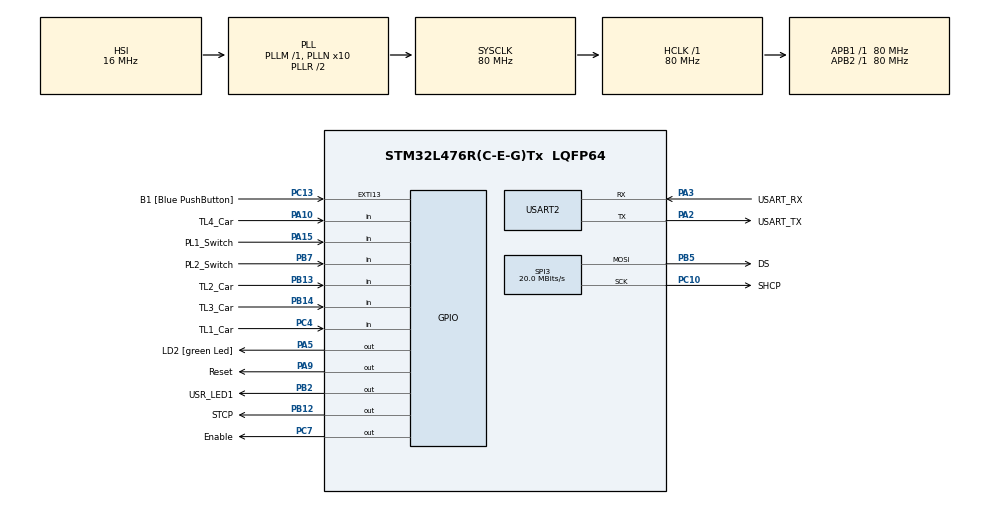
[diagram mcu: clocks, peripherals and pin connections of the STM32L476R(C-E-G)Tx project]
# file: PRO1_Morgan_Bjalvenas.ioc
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FREERTOS.BinarySemaphores01=BinarySemaphoreLEDs,Dynamic,NULL
FREERTOS.Tasks01=defaultTask,24,128,StartDefaultTask,Default,NULL,Dynamic,NULL,NULL;TrafficLightFSM,24,128,traffic_light_FSM,Default,NULL,Dynamic,NULL,NULL;PedestrianLight,24,128,pedestrian_light1,Default,NULL,Dynamic,NULL,NULL;PL1Toggle,8,128,PL1_toggle,Default,NULL,Dynamic,NULL,NULL;PL2Toggle,8,128,PL2_toggle,Default,NULL,Dynamic,NULL,NULL
FREERTOS.configTOTAL_HEAP_SIZE=4000
FREERTOS.configUSE_NEWLIB_REENTRANT=1
Mcu.Family=STM32L4
Mcu.Name=STM32L476R(C-E-G)Tx
Mcu.Package=LQFP64
NVIC.PriorityGroup=NVIC_PRIORITYGROUP_4
NVIC.TIM6_DAC_IRQn=true\:15\:0\:false\:false\:true\:false\:false\:true\:true
NVIC.TimeBase=TIM6_DAC_IRQn
NVIC.TimeBaseIP=TIM6
PA10.GPIO_Label=TL4_Car
PA10.Signal=GPIO_Input
PA13\ (JTMS-SWDIO).GPIO_Label=TMS
PA13\ (JTMS-SWDIO).Mode=Serial_Wire
PA13\ (JTMS-SWDIO).Signal=SYS_JTMS-SWDIO
PA14\ (JTCK-SWCLK).GPIO_Label=TCK
PA14\ (JTCK-SWCLK).Mode=Serial_Wire
PA14\ (JTCK-SWCLK).Signal=SYS_JTCK-SWCLK
PA15\ (JTDI).GPIO_Label=PL1_Switch
PA15\ (JTDI).GPIO_PuPd=GPIO_PULLUP
PA15\ (JTDI).Signal=GPIO_Input
PA2.GPIO_Label=USART_TX
PA2.GPIO_Mode=GPIO_MODE_AF_PP
PA2.GPIO_PuPd=GPIO_NOPULL
PA2.GPIO_Speed=GPIO_SPEED_FREQ_VERY_HIGH
PA2.Mode=Asynchronous
PA2.Signal=USART2_TX
PA3.GPIO_Label=USART_RX
PA3.GPIO_Mode=GPIO_MODE_AF_PP
PA3.GPIO_PuPd=GPIO_NOPULL
PA3.GPIO_Speed=GPIO_SPEED_FREQ_VERY_HIGH
PA3.Mode=Asynchronous
PA3.Signal=USART2_RX
PA5.GPIO_Label=LD2 [green Led]
PA5.GPIO_ModeDefaultOutputPP=GPIO_MODE_OUTPUT_PP
PA5.GPIO_PuPd=GPIO_NOPULL
PA5.GPIO_Speed=GPIO_SPEED_FREQ_LOW
PA5.Signal=GPIO_Output
PA9.GPIO_Label=Reset
PA9.Signal=GPIO_Output
PB12.GPIO_Label=STCP
PB12.Signal=GPIO_Output
PB13.GPIO_Label=TL2_Car
PB13.Signal=GPIO_Input
PB14.GPIO_Label=TL3_Car
PB14.Signal=GPIO_Input
PB2.GPIO_Label=USR_LED1
PB2.Signal=GPIO_Output
PB3\ (JTDO-TRACESWO).GPIO_Label=SWO
PB3\ (JTDO-TRACESWO).Signal=SYS_JTDO-SWO
PB5.GPIO_Label=DS
PB5.Mode=TX_Only_Simplex_Unidirect_Master
PB5.Signal=SPI3_MOSI
PB7.GPIO_Label=PL2_Switch
PB7.GPIO_Mode=GPIO_MODE_INPUT
PB7.GPIO_PuPd=GPIO_PULLUP
PB7.Signal=GPIO_Input
PC10.GPIO_Label=SHCP
PC10.Mode=TX_Only_Simplex_Unidirect_Master
PC10.Signal=SPI3_SCK
PC13.GPIO_Label=B1 [Blue PushButton]
PC13.GPIO_ModeDefaultEXTI=GPIO_MODE_IT_FALLING
PC13.GPIO_PuPd=GPIO_NOPULL
PC13.Signal=GPXTI13
PC14-OSC32_IN\ (PC14).Mode=LSE-External-Oscillator
PC14-OSC32_IN\ (PC14).Signal=RCC_OSC32_IN
PC15-OSC32_OUT\ (PC15).Mode=LSE-External-Oscillator
PC15-OSC32_OUT\ (PC15).Signal=RCC_OSC32_OUT
PC4.GPIO_Label=TL1_Car
PC4.Signal=GPIO_Input
PC7.GPIO_Label=Enable
PC7.Signal=GPIO_Output
PH0-OSC_IN\ (PH0).Signal=RCC_OSC_IN
PH1-OSC_OUT\ (PH1).Signal=RCC_OSC_OUT
ProjectManager.HeapSize=0x200
ProjectManager.StackSize=0x400
ProjectManager.TargetToolchain=STM32CubeIDE
RCC.ADCFreq_Value=64000000
RCC.AHBFreq_Value=80000000
RCC.APB1Freq_Value=80000000
RCC.APB1TimFreq_Value=80000000
RCC.APB2Freq_Value=80000000
RCC.APB2TimFreq_Value=80000000
RCC.CortexFreq_Value=80000000
RCC.HCLKFreq_Value=80000000
RCC.HSE_VALUE=8000000
RCC.HSI_VALUE=16000000
RCC.MSI_VALUE=4000000
RCC.PLLN=10
RCC.PLLSourceVirtual=RCC_PLLSOURCE_HSI
RCC.PREFETCH_ENABLE=1
RCC.SYSCLKFreq_VALUE=80000000
RCC.SYSCLKSource=RCC_SYSCLKSOURCE_PLLCLK
RCC.USBFreq_Value=64000000
RCC.VCOOutputFreq_Value=160000000
SPI3.BaudRatePrescaler=SPI_BAUDRATEPRESCALER_4
SPI3.CalculateBaudRate=20.0 MBits/s
SPI3.DataSize=SPI_DATASIZE_8BIT
SPI3.Direction=SPI_DIRECTION_2LINES
SPI3.FirstBit=SPI_FIRSTBIT_LSB
SPI3.Mode=SPI_MODE_MASTER
SPI3.VirtualType=VM_MASTER
USART2.VirtualMode-Asynchronous=VM_ASYNC
VP_FREERTOS_VS_CMSIS_V2.Mode=CMSIS_V2
VP_SYS_VS_tim6.Mode=TIM6
board=NUCLEO-L476RG

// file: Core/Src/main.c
/* USER CODE BEGIN Header */
/**
  ******************************************************************************
  * @file           : main.c
  * @brief          : Main program body
  ******************************************************************************
  * @attention
  *
  * Copyright (c) 2023 STMicroelectronics.
  * All rights reserved.
  *
  * This software is licensed under terms that can be found in the LICENSE file
  * in the root directory of this software component.
  * If no LICENSE file comes with this software, it is provided AS-IS.
  *
  ******************************************************************************
  */
/* USER CODE END Header */
#include "main.h"
#include "cmsis_os.h"
#include "spi.h"
#include "usart.h"
#include "gpio.h"

/* USER CODE BEGIN PD */
#define RUN_TEST_PROGRAM // define test program
/* USER CODE END PD */

void SystemClock_Config(void);
void MX_FREERTOS_Init(void);

/* USER CODE BEGIN 0 */
#ifdef RUN_TEST_PROGRAM
extern void initialise_monitor_handles(void);
#endif

/* USER CODE END 0 */

int main(void)
{

  /* MCU Configuration--------------------------------------------------------*/

  /* Reset of all peripherals, Initializes the Flash interface and the Systick. */
  HAL_Init();

  /* Configure the system clock */
  SystemClock_Config();

  /* Initialize all configured peripherals */
  MX_GPIO_Init();
  MX_USART2_UART_Init();
  MX_SPI3_Init();
  /* USER CODE BEGIN 2 */
//#ifdef RUN_TEST_PROGRAM // run test program if defined, uncomment to run tests
//Test_program();
//#endif

  /* USER CODE END 2 */

  /* Init scheduler */
  osKernelInitialize();

  /* Call init function for freertos objects (in freertos.c) */
  MX_FREERTOS_Init();

  /* Start scheduler */
  osKernelStart();

  /* We should never get here as control is now taken by the scheduler */
  /* Infinite loop */
  while (1)
  {

  }
}

void SystemClock_Config(void)
{
  RCC_OscInitTypeDef RCC_OscInitStruct = {0};
  RCC_ClkInitTypeDef RCC_ClkInitStruct = {0};

  /** Configure the main internal regulator output voltage
  */
  if (HAL_PWREx_ControlVoltageScaling(PWR_REGULATOR_VOLTAGE_SCALE1) != HAL_OK)
  {
    Error_Handler();
  }

  /** Initializes the RCC Oscillators according to the specified parameters
  * in the RCC_OscInitTypeDef structure.
  */
  RCC_OscInitStruct.OscillatorType = RCC_OSCILLATORTYPE_HSI;
  RCC_OscInitStruct.HSIState = RCC_HSI_ON;
  RCC_OscInitStruct.HSICalibrationValue = RCC_HSICALIBRATION_DEFAULT;
  RCC_OscInitStruct.PLL.PLLState = RCC_PLL_ON;
  RCC_OscInitStruct.PLL.PLLSource = RCC_PLLSOURCE_HSI;
  RCC_OscInitStruct.PLL.PLLM = 1;
  RCC_OscInitStruct.PLL.PLLN = 10;
  RCC_OscInitStruct.PLL.PLLP = RCC_PLLP_DIV7;
  RCC_OscInitStruct.PLL.PLLQ = RCC_PLLQ_DIV2;
  RCC_OscInitStruct.PLL.PLLR = RCC_PLLR_DIV2;
  if (HAL_RCC_OscConfig(&RCC_OscInitStruct) != HAL_OK)
  {
    Error_Handler();
  }

  /** Initializes the CPU, AHB and APB buses clocks
  */
  RCC_ClkInitStruct.ClockType = RCC_CLOCKTYPE_HCLK|RCC_CLOCKTYPE_SYSCLK
                              |RCC_CLOCKTYPE_PCLK1|RCC_CLOCKTYPE_PCLK2;
  RCC_ClkInitStruct.SYSCLKSource = RCC_SYSCLKSOURCE_PLLCLK;
  RCC_ClkInitStruct.AHBCLKDivider = RCC_SYSCLK_DIV1;
  RCC_ClkInitStruct.APB1CLKDivider = RCC_HCLK_DIV1;
  RCC_ClkInitStruct.APB2CLKDivider = RCC_HCLK_DIV1;

  if (HAL_RCC_ClockConfig(&RCC_ClkInitStruct, FLASH_LATENCY_4) != HAL_OK)
  {
    Error_Handler();
  }
}

void HAL_TIM_PeriodElapsedCallback(TIM_HandleTypeDef *htim)
{
  if (htim->Instance == TIM6) {
    HAL_IncTick();
  }
}

void Error_Handler(void)
{
  __disable_irq();
  while (1)
  {
  }
}

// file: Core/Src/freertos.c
/* USER CODE BEGIN Header */
/**
  ******************************************************************************
  * File Name          : freertos.c
  * Description        : Code for freertos applications
  ******************************************************************************
  * @attention
  *
  * Copyright (c) 2023 STMicroelectronics.
  * All rights reserved.
  *
  * This software is licensed under terms that can be found in the LICENSE file
  * in the root directory of this software component.
  * If no LICENSE file comes with this software, it is provided AS-IS.
  *
  ******************************************************************************
  */

/**
******************************************************************************
@brief Main program file for PRO1 project
@file freertos.c
@author Morgan Bjälvenäs
@version 1.0
@date 20-December-2023
@brief All tasks, functions, and data structures, constituting traffic system
******************************************************************************
*/

/* USER CODE END Header */

#include "FreeRTOS.h"
#include "task.h"
#include "main.h"
#include "cmsis_os.h"

/* USER CODE BEGIN Includes */
#include "stdbool.h"
#include "traffic_light_functions.h"

/* USER CODE END Includes */

/* USER CODE BEGIN PTD */
// defines all states for traffic light FSM
typedef enum
{NorthSouth,
	EastWest,
	Orange
}TLStates;

// defines all states for pedestrian light FSM
typedef enum
{North,
	West,
	Toggle
}PLStates;

/* USER CODE END PTD */

/* USER CODE BEGIN Variables */
// all configurable timing conditions
uint16_t orangeDelay = 3000; // orangeDelay set to 3 seconds
uint16_t greenDelay = 10000; // greenDelay set to 10 seconds
uint16_t walkingDelay = 8000; // greenDelay set to 8 seconds
uint16_t toggleFreq = 400; // toggleFreq set to 400 ms
uint16_t pedestrianDelay = 6000; // pedestrianDelay set to 6 seconds
uint16_t redDelayMax = 15000; // redDelayMax set to 15 seconds

// initialization of LEDs for corresponding state
// at program start everything is false

// traffic light state initializations
bool northSouthInitialized = false;
bool eastWestInitialized = false;
bool orangeInitialized = false;

// pedestrian light state initializations
bool northInitialized = false;
bool westInitialized = false;
bool toggleInitialized = false;

// booleans representing active toggle of each blue pedestrian light
bool PL1Toggle = false;
bool PL2Toggle = false;

// state memory
TLStates currentState = NorthSouth; // current state of traffic light FSM
TLStates previousState; // previous state of traffic light FSM

PLStates PLState = West; // current state of pedestrian light FSM
PLStates PLPreviousState; // previous state of pedestrian light FSM

// array representing all traffic and pedestrian light LEDs on traffic light shield
uint8_t trafficLeds[] = {0b00000000, 0b00000000, 0b00000000};

// timers
uint16_t TLFSMTimer = 0; // timer for active time in one state for traffic light FSM
uint16_t PLTimer = 0; // timer for active time in one state for pedestrian light FSM
uint16_t toggle1Timer = 0; // elapsed toggle time for first blue pedestrian light
uint16_t toggle2Timer = 0; // elapsed toggle time for second blue pedestrian light

/* USER CODE END Variables */
/* Definitions for defaultTask */
osThreadId_t defaultTaskHandle;
const osThreadAttr_t defaultTask_attributes = {
  .name = "defaultTask",
  .stack_size = 128 * 4,
  .priority = (osPriority_t) osPriorityNormal,
};
/* Definitions for TrafficLightFSM */
osThreadId_t TrafficLightFSMHandle;
const osThreadAttr_t TrafficLightFSM_attributes = {
  .name = "TrafficLightFSM",
  .stack_size = 128 * 4,
  .priority = (osPriority_t) osPriorityNormal,
};
/* Definitions for PedestrianLight */
osThreadId_t PedestrianLightHandle;
const osThreadAttr_t PedestrianLight_attributes = {
  .name = "PedestrianLight",
  .stack_size = 128 * 4,
  .priority = (osPriority_t) osPriorityNormal,
};
/* Definitions for PL1Toggle */
osThreadId_t PL1ToggleHandle;
const osThreadAttr_t PL1Toggle_attributes = {
  .name = "PL1Toggle",
  .stack_size = 128 * 4,
  .priority = (osPriority_t) osPriorityLow,
};
/* Definitions for PL2Toggle */
osThreadId_t PL2ToggleHandle;
const osThreadAttr_t PL2Toggle_attributes = {
  .name = "PL2Toggle",
  .stack_size = 128 * 4,
  .priority = (osPriority_t) osPriorityLow,
};
/* Definitions for BinarySemaphoreLEDs */
// Semaphore for LEDs on Traffic Light Shield
osSemaphoreId_t BinarySemaphoreLEDsHandle;
const osSemaphoreAttr_t BinarySemaphoreLEDs_attributes = {
  .name = "BinarySemaphoreLEDs"
};

void StartDefaultTask(void *argument);
void traffic_light_FSM(void *argument);
void pedestrian_light1(void *argument);
void PL1_toggle(void *argument);
void PL2_toggle(void *argument);

void MX_FREERTOS_Init(void); /* (MISRA C 2004 rule 8.1) */

void MX_FREERTOS_Init(void) {

  /* Create the semaphores(s) */
  /* creation of BinarySemaphoreLEDs */
  BinarySemaphoreLEDsHandle = osSemaphoreNew(1, 1, &BinarySemaphoreLEDs_attributes);

  /* Create the thread(s) */
  /* creation of defaultTask */
  defaultTaskHandle = osThreadNew(StartDefaultTask, NULL, &defaultTask_attributes);

  /* creation of TrafficLightFSM */
  TrafficLightFSMHandle = osThreadNew(traffic_light_FSM, NULL, &TrafficLightFSM_attributes);

  /* creation of PedestrianLight */
  PedestrianLightHandle = osThreadNew(pedestrian_light1, NULL, &PedestrianLight_attributes);

  /* creation of PL1Toggle */
  PL1ToggleHandle = osThreadNew(PL1_toggle, NULL, &PL1Toggle_attributes);

  /* creation of PL2Toggle */
  PL2ToggleHandle = osThreadNew(PL2_toggle, NULL, &PL2Toggle_attributes);

}

void StartDefaultTask(void *argument)
{
  /* USER CODE BEGIN StartDefaultTask */
  /* Infinite loop */
  for(;;)
  {
    osDelay(1); // does nothing
  }
  /* USER CODE END StartDefaultTask */
}

void traffic_light_FSM(void *argument)
{
  /* USER CODE BEGIN traffic_light_FSM */
	TickType_t xLastWakeTime;
	const TickType_t xPeriod = pdMS_TO_TICKS(100) ; // 100 ms task period
	// Initialize the xLastWakeTime variable with the current time.
	xLastWakeTime = xTaskGetTickCount();

  /* Infinite loop */
  for(;;)
  {
	  switch(currentState){
	  case NorthSouth : // if current state is NorthSouth

		  if(BinarySemaphoreLEDsHandle != NULL){
			  // if semaphore in available, and northSouth LEDs have not been initialized
			  if (northSouthInitialized == false && osSemaphoreAcquire(BinarySemaphoreLEDsHandle, osWaitForever) == osOK){

				  // Access shared LEDs
				  //initialize LEDs
				  reset_traffic_leds(trafficLeds);
				  set_red_traffic_led(trafficLeds, true, 1);
				  set_red_traffic_led(trafficLeds, true, 3);
				  set_green_traffic_led(trafficLeds, true, 2);
			  	  set_green_traffic_led(trafficLeds, true, 4);

			  	  //set north and south lane LEDs as initialized
			  	  northSouthInitialized = true;
			  	  eastWestInitialized = false;
			  	  orangeInitialized = false;

			  	  // access over, release semaphore for LEDs
			  	  osSemaphoreRelease(BinarySemaphoreLEDsHandle);
			  }
		  }

		  // if PL2Toggle timer equals (pedestrianDelay - orangeDelay) and walking delay has passed
		  if (PL2Toggle == true && toggle2Timer >= (pedestrianDelay - orangeDelay) && TLFSMTimer >= walkingDelay){
			  // switch to Orange state
			  currentState = Orange;
			  previousState = NorthSouth;

			  // reset timer
			  TLFSMTimer = 0;
		  }

		  // if no cars active, and timer has surpassed walkingDelay and greenDelay
		  if((TL1_car_active() == false && TL2_car_active() == false && TL3_car_active() == false && TL4_car_active() == false)
				  && (PLTimer >= walkingDelay && PLState == West)){

			  if(TLFSMTimer >= greenDelay){
				  // switch to Orange state
				  currentState = Orange;
				  previousState = NorthSouth;

				  // reset timer
				  TLFSMTimer = 0;
			  }
		  }

		  // if car 1 or car 3 is active and car 2 or 4 is active then wait (redDelayMax - orangeDelay) before switching to orange
		  if ((TL2_car_active() == true || TL4_car_active() == true) && (TL1_car_active() == true || TL3_car_active() == true)){
			  if (TLFSMTimer >= (redDelayMax - orangeDelay) && TLFSMTimer >= walkingDelay){
				  currentState = Orange;
				  previousState = NorthSouth;

				  // reset timer
				  TLFSMTimer = 0;
			  }
		  }

		  // if car 1 or 3 is active and car 2 and 4 is inactive and walkingDelay has passed then change directly to orange state
		  if (((TL2_car_active() == false && TL4_car_active() == false) && (TL1_car_active() == true || TL3_car_active() == true))
				  && TLFSMTimer >= walkingDelay){
			  currentState = Orange;
			  previousState = NorthSouth;

			  //reset timer
			  TLFSMTimer = 0;
		  }

	   break;
	   case EastWest : // if current state is EastWest

		   // if semaphore in available, and EastWest LEDs have not been initialized
		   if(BinarySemaphoreLEDsHandle != NULL){

			   if(eastWestInitialized == false && osSemaphoreAcquire(BinarySemaphoreLEDsHandle, osWaitForever) == osOK){
				   // Access shared LEDs
				   // initialize LEDs
				   reset_traffic_leds(trafficLeds);
				   set_red_traffic_led(trafficLeds, true, 2);
				   set_red_traffic_led(trafficLeds, true, 4);
				   set_green_traffic_led(trafficLeds, true, 1);
				   set_green_traffic_led(trafficLeds, true, 3);

				   //set east and west lane LEDs as initialized
				   northSouthInitialized = false;
				   eastWestInitialized = true;
				   orangeInitialized = false;

				   // access over, release semaphore for LEDs
				   osSemaphoreRelease(BinarySemaphoreLEDsHandle);
			   }
		   }

		   // if PL2Toggle timer equals (pedestrianDelay - orangeDelay) and walking delay has passed
		   if (PL1Toggle == true && toggle1Timer >= (pedestrianDelay - orangeDelay) && TLFSMTimer >= walkingDelay){
			   // switch to Orange state
			   currentState = Orange;
			   previousState = EastWest;

			   //reset timer
			   TLFSMTimer = 0;
		   }

		   // if no active cars, and timer has surpassed walkingDelay and greenDelay
		   if((TL1_car_active() == false && TL2_car_active() == false && TL3_car_active() == false && TL4_car_active() == false)
				   && (PLTimer >= walkingDelay && PLState == North)){
			   if(TLFSMTimer >= greenDelay){
				   // switch to Orange state
				   currentState = Orange;
				   previousState = EastWest;

				   //reset timer
				   TLFSMTimer = 0;
			   }
		   }

		   // if car 1 or car 3 is active and car 2 or 4 is active then wait (redDelayMax - orangeDelay) and walkingDelay before switching to orange
		   if ((TL2_car_active() == true || TL4_car_active() == true) && (TL1_car_active() == true || TL3_car_active() == true)){
			   if (TLFSMTimer >= (redDelayMax - orangeDelay) && TLFSMTimer >= walkingDelay){
				   currentState = Orange;
				   previousState = EastWest;

				   // reset timer
				   TLFSMTimer = 0;
			   }
		   }

		   // if car 2 or 4 is active and car 1 and 3 is inactive and walkingDelay has passed then change directly to orange state
		   if (((TL2_car_active() == true || TL4_car_active() == true) && (TL1_car_active() == false && TL3_car_active() == false))
				   && TLFSMTimer >= walkingDelay){
			   currentState = Orange;
			   previousState = EastWest;

			   //reset timer
			   TLFSMTimer = 0;
		   }

	   break;
	   case Orange :
		   if(BinarySemaphoreLEDsHandle != NULL){
			   // if semaphore in available, and northSouth LEDs have not been initialized
			   if(orangeInitialized == false && osSemaphoreAcquire(BinarySemaphoreLEDsHandle, osWaitForever) == osOK){
				   // Access shared LEDs
				   // initialize LEDs
				   reset_traffic_leds(trafficLeds);
				   set_yellow_traffic_led(trafficLeds, true, 1);
				   set_yellow_traffic_led(trafficLeds, true, 2);
				   set_yellow_traffic_led(trafficLeds, true, 3);
				   set_yellow_traffic_led(trafficLeds, true, 4);

				   reset_pedestrian_leds(trafficLeds);
				   set_red_PL_led(trafficLeds, true, 1);
				   set_red_PL_led(trafficLeds, true, 2);

				   //set orange LEDs as initialized
				   northSouthInitialized = false;
				   eastWestInitialized = false;
				   orangeInitialized = true;

				   // access over, release semaphore for LEDs
				   osSemaphoreRelease(BinarySemaphoreLEDsHandle);
			   }
		   }

		   // if time in Orange state has surpassed orangeDelay
		   if(TLFSMTimer >= orangeDelay){
			   if(previousState == NorthSouth){ // if the previous state was NorthSouth
				   // switch to EastWest
				   currentState = EastWest;
			   } else{ // if the previous state was EastWest
				   // switch to NorthSouth
				   currentState = NorthSouth;
			   }

			   //reset timer
			   TLFSMTimer = 0;
		   }

		break;
		default:
			// do nothing (will never reach)
		}

	  // add 100 ms to the active time in state
	  TLFSMTimer += 100;

	  // delay until next period
	  vTaskDelayUntil( &xLastWakeTime, xPeriod );

  }
  /* USER CODE END traffic_light_FSM */
}

void pedestrian_light1(void *argument)
{
  /* USER CODE BEGIN pedestrian_light1 */
	TickType_t xLastWakeTime;
	const TickType_t xPeriod = pdMS_TO_TICKS(100) ; // 100 ms task period
	// Initialize the xLastWakeTime variable with the current time.
	xLastWakeTime = xTaskGetTickCount();

  /* Infinite loop */
  for(;;)
  {
	switch(PLState){
    case North : // if current state is North

    	// if semaphore is available and North state LEDs have not been initialized
    	if(northInitialized == false && osSemaphoreAcquire(BinarySemaphoreLEDsHandle, osWaitForever) == osOK){
    		// access shared LEDs
    		// initialize LEDs
    		reset_pedestrian_leds(trafficLeds);
    		set_red_PL_led(trafficLeds, true, 1);
    		set_green_PL_led(trafficLeds, true, 2);

    		// set red pedestrian LEDs as initialized
    		northInitialized = true;
    		westInitialized = false;
    		toggleInitialized = false;

    		// access over, release semaphore for LEDs
    		osSemaphoreRelease(BinarySemaphoreLEDsHandle);
    	}

    	// if first pedestrian button is hit
    	if (PL1_switch_hit() == true){
    		// switch to Toggle state
    		PLState = Toggle;
    		PLPreviousState = North;

    		// reset timer
    		PLTimer = 0;
    	}

    	// if current state of traffic light FSM is NorthSouth
    	if (currentState == NorthSouth){
    		// switch to West state
    		PLState = West;

    		// reset timer
    		PLTimer = 0;
    	}

    break;
    case West : // if current state is West

    	// if semaphore is available and West LEDs have not been initialized
    	if(westInitialized == false && osSemaphoreAcquire(BinarySemaphoreLEDsHandle, osWaitForever) == osOK){
    		// access shared LEDs
    		// initialize LEDs
    		reset_pedestrian_leds(trafficLeds);
    		set_green_PL_led(trafficLeds, true, 1);
    		set_red_PL_led(trafficLeds, true, 2);

    		// set green pedestrian LEDs as initialized
    		northInitialized = false;
    		westInitialized = true;
    		toggleInitialized = false;

    		// access over, release semaphore for LEDs
    		osSemaphoreRelease(BinarySemaphoreLEDsHandle);

    	}

    	// if second pedestrian button is hit
    	if (PL2_switch_hit() == true){
    		// switch to Toggle state
    		PLState = Toggle;
    		PLPreviousState = West;

    		// reset timer
    		PLTimer = 0;
    	}

    	// if current state of traffic light FSM is EastWest
    	if (currentState == EastWest){
    		// switch to North state
    		PLState = North;

    		// reset timer
    		PLTimer = 0;
    	}

    break;
    case Toggle : // if current state is Toggle

    	if(toggleInitialized == false && osSemaphoreAcquire(BinarySemaphoreLEDsHandle, osWaitForever) == osOK){

    		// set toggle state as initialized
    		northInitialized = false;
    		westInitialized = false;
    		toggleInitialized = true;

    		// enable toggling
    		if(PLPreviousState == North){ // if previous state was North
    			PL1Toggle = true; // task "PL1_toggle" goes from blocked to active state
    		} else if (PLPreviousState == West){ // if previous state was West
    			PL2Toggle = true; // task "PL2_toggle" goes from blocked to active state
    		}

    		// access over, release semaphore for LEDs
    		osSemaphoreRelease(BinarySemaphoreLEDsHandle);

    	}

    	// when toggle is over change state
    	if(PL1Toggle == false && PL2Toggle == false){ // if pedestrian toggle 1 or 2 is false
    		if (PLPreviousState == North){ // previous state is North
    			PLState = West; // switch to West state
    		} else if (PLPreviousState == West){ // previous state is West
    			PLState = North; // switch to North state
    		}
    		// reset timer
    		PLTimer = 0;
    	}

    break;
    default :
    	// do nothing, will never reach
    }

    // add 100 ms to timer
    PLTimer += 100;

    // delay until next period
    vTaskDelayUntil( &xLastWakeTime, xPeriod );

  }
  /* USER CODE END pedestrian_light1 */
}

void PL1_toggle(void *argument)
{
  /* USER CODE BEGIN PL1_toggle */
	TickType_t xLastWakeTime;
	const TickType_t xPeriod = pdMS_TO_TICKS(toggleFreq) ; // toggleFreq ms task period
	// Initialize the xLastWakeTime variable with the current time.
	xLastWakeTime = xTaskGetTickCount();

  /* Infinite loop */
  for(;;)
  {
	  if (PL1Toggle == true){ // check if PL FSM is in toggle state
		  // task has gone from blocked to active state

		  uint8_t modifiedBitSequence; // 8 bit sequence, representing modified bit sequence

		  // check if traffic light FSM current state is NorthSouth
		  if(currentState == NorthSouth){
			  // leave toggle state
			  // turn task to blocked state
			  PL1Toggle = false;
			  // reset timer
			  toggle1Timer = 0;
			  continue;
		  }

		  // check if semaphore is available, acquire it
		  if (osSemaphoreAcquire(BinarySemaphoreLEDsHandle, osWaitForever) == osOK){
			  // shared LEDs accessed

			  // turn blue PL LED on
			  modifiedBitSequence = modify_bit(trafficLeds[0], 2, 1);
			  trafficLeds[0] = modifiedBitSequence;
			  set_traffic_leds(trafficLeds);

			  // release semaphore
		      osSemaphoreRelease(BinarySemaphoreLEDsHandle);
		  }

	  	  // wait half of toggleFreq
	  	  osDelay(toggleFreq/2);

	  	  // check if semaphore is available, acquire it
	  	  if (osSemaphoreAcquire(BinarySemaphoreLEDsHandle, osWaitForever) == osOK){
	  		  // shared LEDs accessed

			  // turn blue PL LED off
			  modifiedBitSequence = modify_bit(trafficLeds[0], 2, 0);
			  trafficLeds[0] = modifiedBitSequence;
			  set_traffic_leds(trafficLeds);

			  // release semaphore
		      osSemaphoreRelease(BinarySemaphoreLEDsHandle);
	  	  }

	  	  // update timer, appending toggleFreq
	  	  toggle1Timer += toggleFreq;

		  if(toggle1Timer >= pedestrianDelay && TLFSMTimer >= (walkingDelay + orangeDelay)){ // check if timer has reached pedestrianDelay and walkingDelay has passed
			  // leave toggle state
			  // turn task to blocked state
			  PL1Toggle = false;

			  // reset timer
			  toggle1Timer = 0;
		  }

      }

	  // delay until next period
      vTaskDelayUntil( &xLastWakeTime, xPeriod );
  }
  /* USER CODE END PL1_toggle */
}

void PL2_toggle(void *argument)
{
  /* USER CODE BEGIN PL2_toggle */
	TickType_t xLastWakeTime;
	const TickType_t xPeriod = pdMS_TO_TICKS(toggleFreq) ; // toggleFreq ms task period
	// Initialize the xLastWakeTime variable with the current time.
	xLastWakeTime = xTaskGetTickCount();

  /* Infinite loop */
  for(;;)
  {
    if(PL2Toggle == true){ // check if PL FSM is in toggle state
    	// task has entered active state from blocked state

    	uint8_t modifiedBitSequence; // 8 bit sequence, representing modified bit sequence

    	// check if traffic light FSM current state is NorthSouth
		if(currentState == EastWest){
			// leave toggle state
			// turn task to blocked state
			PL2Toggle = false;
			// reset timer
			toggle2Timer = 0;
			continue;
		}

		// check if semaphore is available, acquire it
		if (osSemaphoreAcquire(BinarySemaphoreLEDsHandle, osWaitForever) == osOK){

			// turn blue PL LED on
			modifiedBitSequence = modify_bit(trafficLeds[1], 2, 1);
			trafficLeds[1] = modifiedBitSequence;
			set_traffic_leds(trafficLeds);

			// release semaphore
			osSemaphoreRelease(BinarySemaphoreLEDsHandle);
		}

		// wait half of toggleFreq
		osDelay(toggleFreq/2);

		// check if semaphore is available, acquire it
		if (osSemaphoreAcquire(BinarySemaphoreLEDsHandle, osWaitForever) == osOK){
			// turn blue PL LED off
			modifiedBitSequence = modify_bit(trafficLeds[1], 2, 0);
			trafficLeds[1] = modifiedBitSequence;
			set_traffic_leds(trafficLeds);

			// release semaphore
			osSemaphoreRelease(BinarySemaphoreLEDsHandle);
		  }

		// update timer, appending toggleFreq
		toggle2Timer += toggleFreq;

		if(toggle2Timer >= pedestrianDelay && TLFSMTimer >= (walkingDelay + orangeDelay)){ // check if timer has reached pedestrianDelay and walkingDelay has passed
			// leave toggle state
			// turn task to blocked state
			PL2Toggle = false;

			// reset timer
			toggle2Timer = 0;
		}

    }

    // delay until next period
    vTaskDelayUntil( &xLastWakeTime, xPeriod );

  }
  /* USER CODE END PL2_toggle */
}
